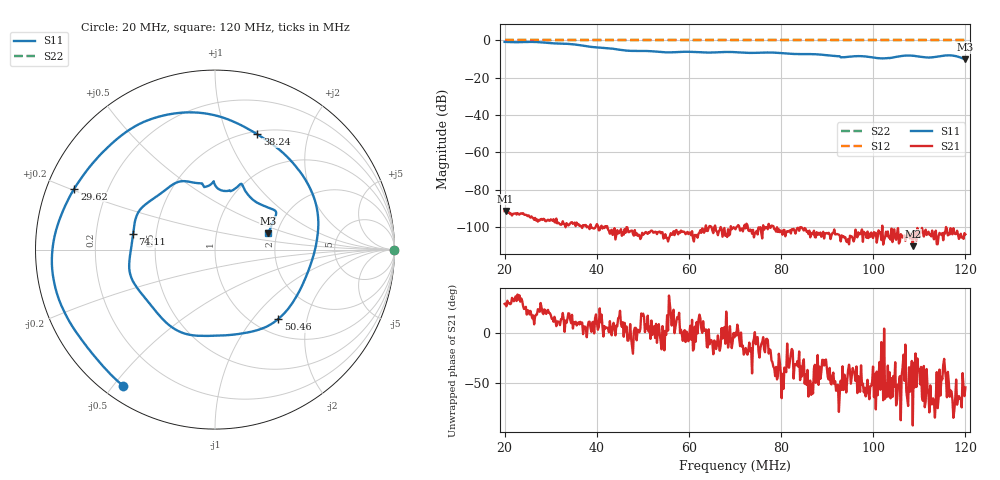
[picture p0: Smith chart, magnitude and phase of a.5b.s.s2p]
! Anritsu VNA Master:  Model: MS2036C/10/77
! SN:  1601066
! /bd0/18may8/255.ns.s.s2p
! Existing Calibration Information:
! TYPE:  Current Settings,  Active Cal Settings
! TIME:  05/08/2018 11:26:39 AM,  05/08/2018 11:16:31 AM
! INTERNAL TEMP:  51.8 C,  51.3 C
! # POINTS:  500,  500
! START FREQ:  20.000 MHz,  20.000 MHz
! STOP FREQ:  120.000 MHz,  120.000 MHz
! SOURCE POWER:  High,  High
! IFBW:  50 Hz,  50 Hz
! AVG FACTOR:  1 ,  1
! REF PLANE 1:  0 mm,  0 mm
! REF PLANE 2:  0 mm,  0 mm
! CAL TYPE:  Full S11,  Full S11
! CAL METHOD:  SOLT,  SOLT
! CAL LINE TYPE:  Coax,  Coax
! DUT PORT 1:  K-Conn(F),  K-Conn(F)
! DUT PORT 2:  K-Conn(F),  K-Conn(F)
! CAL STATUS:  OK: Accuracy High,  --
# GHZ S DB R 50.0
! FREQ.GHZ  S11DB  S11A  S21DB  S21A  S12DB  S12A  S22DB  S22A
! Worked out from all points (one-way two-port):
!   500 points, 20 MHz to 120 MHz, reference 50 ohm
!   highest |S21| = -91.32 dB at 20.2 MHz (marker M1); lowest = -110.3 dB at 108.6 MHz (marker M2)
!   lowest |S11| = -10.1 dB at 120 MHz (marker M3), VSWR 1.90, Z = 90.1 + j18 ohm
!   |S11| at or under -10 dB: 119.8514 MHz to end of sweep
!   |S22| runs from 0.0 to 0.0 dB; largest |S21 - S12| = 1
!   S11 on the Smith chart (normalised r, x): 20 MHz: 0.06, -0.53; 29.62 MHz: 0.08, +0.21; 38.24 MHz: 0.53, +1.29; 50.46 MHz: 1.28, -1.36; 74.11 MHz: 0.37, +0.08; 120 MHz: 1.80, +0.36
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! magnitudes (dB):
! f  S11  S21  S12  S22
! 20 MHz  -0.8  -91.5  0.0  0.0
! 20.2 MHz  -0.8  -91.3  0.0  0.0
! 26.41 MHz  -0.8  -96.1  0.0  0.0
! 29.62 MHz  -1.4  -96.5  0.0  0.0
! 36.83 MHz  -2.7  -100.5  0.0  0.0
! 38.24 MHz  -3.3  -99.8  0.0  0.0
! 46.65 MHz  -5.5  -100.2  0.0  0.0
! 50.46 MHz  -5.6  -103.0  0.0  0.0
! 53.47 MHz  -6.1  -102.6  0.0  0.0
! 70.1 MHz  -6.3  -101.2  0.0  0.0
! 74.11 MHz  -6.7  -105.5  0.0  0.0
! 77.92 MHz  -6.5  -99.2  0.0  0.0
! 86.73 MHz  -7.3  -103.2  0.0  0.0
! 93.35 MHz  -9.0  -105.3  0.0  0.0
! 97.15 MHz  -8.4  -103.8  0.0  0.0
! 101.4 MHz  -9.6  -103.2  0.0  0.0
! 103.4 MHz  -9.4  -105.6  0.0  0.0
! 106.6 MHz  -8.2  -105.2  0.0  0.0
! 108.6 MHz  -8.2  -110.3  0.0  0.0
! 112.2 MHz  -9.1  -104.1  0.0  0.0
! 116.8 MHz  -8.0  -100.6  0.0  0.0
! 120 MHz  -10.1  -103.9  0.0  0.0
